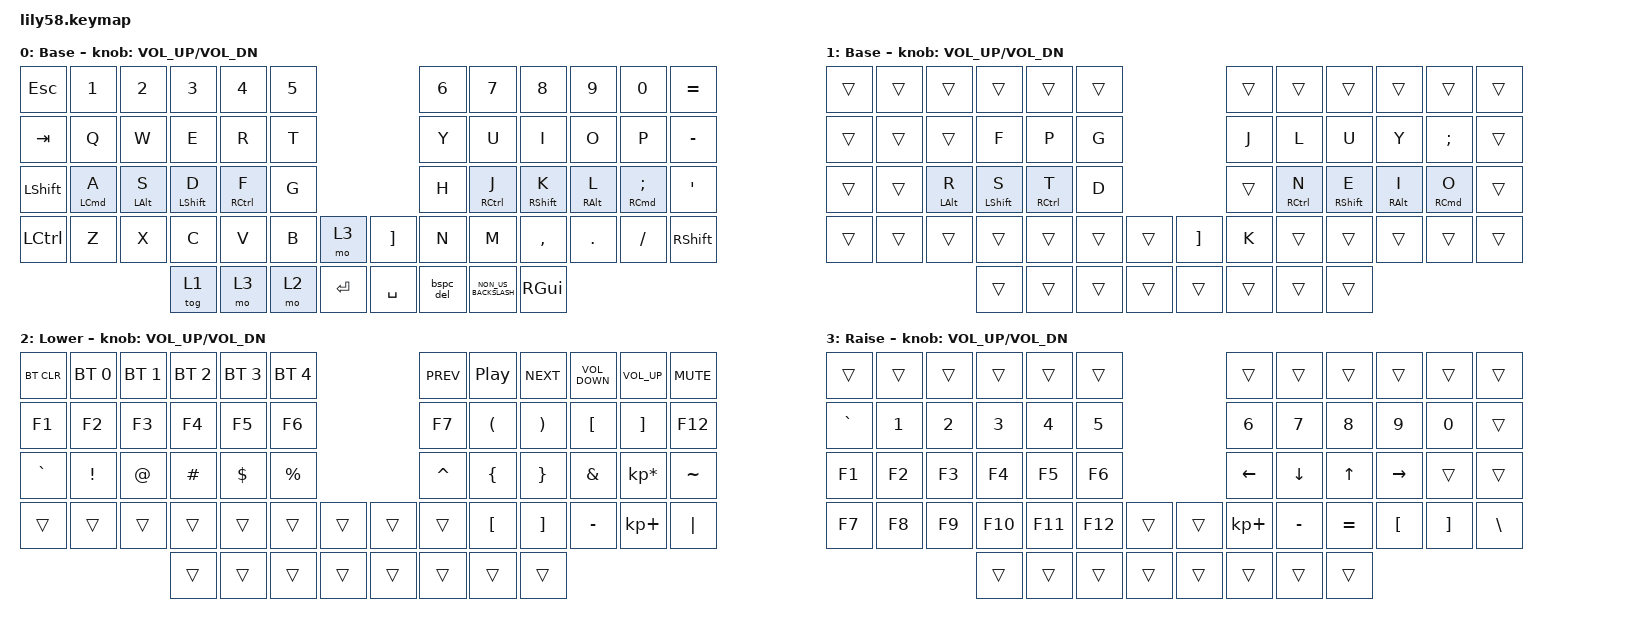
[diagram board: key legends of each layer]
/*
 * Copyright (c) 2020 The ZMK Contributors
 *
 * SPDX-License-Identifier: MIT
 */

#include <behaviors.dtsi>
#include <dt-bindings/zmk/bt.h>
#include <dt-bindings/zmk/keys.h>

/ {
    behaviors {
        hm: hm {
            compatible = "zmk,behavior-hold-tap";
            label = "HM";
            bindings = <&kp>, <&kp>;

            #binding-cells = <2>;
            tapping-term-ms = <200>;
            quick-tap-ms = <200>;
            require-prior-idle-ms = <200>;
            flavor = "tap-preferred";
        };

        bspc_del: bspc_del {
            compatible = "zmk,behavior-mod-morph";
            label = "BSPC_DEL";
            bindings = <&kp BACKSPACE>, <&kp DEL>;

            #binding-cells = <0>;
            mods = <(MOD_LSFT|MOD_RSFT)>;
        };
    };

    keymap {
        compatible = "zmk,keymap";

        default_layer {
            // ------------------------------------------------------------------------------------------------------------
            // |  ESC  |  1  |  2  |  3   |  4   |  5   |                   |  6   |  7    |  8    |  9   |   0   |   `   |
            // |  TAB  |  Q  |  W  |  E   |  R   |  T   |                   |  Y   |  U    |  I    |  O   |   P   |   -   |
            // |  CTRL |  A  |  S  |  D   |  F   |  G   |                   |  H   |  J    |  K    |  L   |   ;   |   '   |
            // | SHIFT |  Z  |  X  |  C   |  V   |  B   |   "["  |  |  "]"  |  N   |  M    |  ,    |  .   |   /   | SHIFT |
            //                     | ALT  | GUI  | LOWER|  SPACE |  | ENTER | RAISE| BSPC  | GUI   |

            display-name = "Base";
            bindings = <
&kp ESC           &kp N1              &kp N2          &kp N3       &kp N4               &kp N5                          &kp N6     &kp N7                &kp N8             &kp N9           &kp N0                       &kp EQUAL
&kp TAB           &kp Q               &kp W           &kp E        &kp R                &kp T                           &kp Y      &kp U                 &kp I              &kp O            &kp P                        &kp MINUS
&kp LEFT_SHIFT    &hm LEFT_COMMAND A  &hm LEFT_ALT S  &hm LSHFT D  &hm RIGHT_CONTROL F  &kp G                           &kp H      &hm RIGHT_CONTROL J   &hm RIGHT_SHIFT K  &hm RIGHT_ALT L  &hm RIGHT_COMMAND SEMICOLON  &kp SQT
&kp LEFT_CONTROL  &kp Z               &kp X           &kp C        &kp V                &kp B   &mo 3        &kp RBKT   &kp N      &kp M                 &kp COMMA          &kp DOT          &kp FSLH                     &kp RSHFT
                                                      &tog 1       &mo 3                &mo 2   &kp ENTER    &kp SPACE  &bspc_del  &kp NON_US_BACKSLASH  &kp RGUI
            >;

            sensor-bindings = <&inc_dec_kp C_VOL_UP C_VOL_DN>;
        };

        Colemak {
            display-name = "Base";
            bindings = <
&trans  &trans  &trans          &trans       &trans               &trans                      &trans  &trans               &trans             &trans           &trans               &trans
&trans  &trans  &trans          &kp F        &kp P                &kp G                       &kp J   &kp L                &kp U              &kp Y            &kp SEMICOLON        &trans
&trans  &trans  &hm LEFT_ALT R  &hm LSHFT S  &hm RIGHT_CONTROL T  &kp D                       &trans  &hm RIGHT_CONTROL N  &hm RIGHT_SHIFT E  &hm RIGHT_ALT I  &hm RIGHT_COMMAND O  &trans
&trans  &trans  &trans          &trans       &trans               &trans  &trans    &kp RBKT  &kp K   &trans               &trans             &trans           &trans               &trans
                                &trans       &trans               &trans  &trans    &trans    &trans  &trans               &trans
            >;

            sensor-bindings = <&inc_dec_kp C_VOL_UP C_VOL_DN>;
        };

        lower_layer {
            // ------------------------------------------------------------------------------------------------------------
            // | BTCLR | BT1 | BT2 |  BT3 |  BT4 |  BT5 |                   |      |       |       |      |       |       |
            // |  F1   |  F2 |  F3 |  F4  |  F5  |  F6  |                   |  F7  |  F8   |  F9   |  F10 |  F11  |  F12  |
            // |   `   |  !  |  @  |  #   |  $   |  %   |                   |  ^   |  &    |  *    |  (   |   )   |   ~   |
            // |       |     |     |      |      |      |        |  |       |      |  _    |  +    |  {   |   }   |  "|"  |
            //                     |      |      |      |        |  |       |      |       |       |

            display-name = "Lower";
            bindings = <
&bt BT_CLR  &bt BT_SEL 0  &bt BT_SEL 1  &bt BT_SEL 2  &bt BT_SEL 3  &bt BT_SEL 4                    &kp C_PREV  &kp C_PLAY_PAUSE      &kp C_NEXT             &kp C_VOLUME_DOWN  &kp C_VOLUME_UP    &kp K_MUTE
&kp F1      &kp F2        &kp F3        &kp F4        &kp F5        &kp F6                          &kp F7      &kp LEFT_PARENTHESIS  &kp RIGHT_PARENTHESIS  &kp LEFT_BRACKET   &kp RIGHT_BRACKET  &kp F12
&kp GRAVE   &kp EXCL      &kp AT        &kp HASH      &kp DOLLAR    &kp PRCNT                       &kp CARET   &kp LEFT_BRACE        &kp RIGHT_BRACE        &kp AMPERSAND      &kp KP_MULTIPLY    &kp TILDE
&trans      &trans        &trans        &trans        &trans        &trans        &trans    &trans  &trans      &kp LEFT_BRACKET      &kp RIGHT_BRACKET      &kp MINUS          &kp KP_PLUS        &kp PIPE
                                        &trans        &trans        &trans        &trans    &trans  &trans      &trans                &trans
            >;

            sensor-bindings = <&inc_dec_kp C_VOL_UP C_VOL_DN>;
        };

        raise_layer {
            // ------------------------------------------------------------------------------------------------------------
            // |       |     |     |      |      |      |                   |      |       |       |      |       |       |
            // |   `   |  1  |  2  |  3   |  4   |  5   |                   |  6   |   7   |   8   |  9   |   0   |       |
            // |   F1  |  F2 |  F3 |  F4  |  F5  |  F6  |                   |      |   <-  |   v   |  ^   |  ->   |       |
            // |   F7  |  F8 |  F9 |  F10 |  F11 |  F12 |        |  |       |  +   |   -   |   =   |  [   |   ]   |   \   |
            //                     |      |      |      |        |  |       |      |       |       |

            display-name = "Raise";
            bindings = <
&trans     &trans  &trans  &trans   &trans   &trans                     &trans          &trans     &trans        &trans     &trans    &trans
&kp GRAVE  &kp N1  &kp N2  &kp N3   &kp N4   &kp N5                     &kp N6          &kp N7     &kp N8        &kp N9     &kp N0    &trans
&kp F1     &kp F2  &kp F3  &kp F4   &kp F5   &kp F6                     &kp LEFT_ARROW  &kp DOWN   &kp UP_ARROW  &kp RIGHT  &trans    &trans
&kp F7     &kp F8  &kp F9  &kp F10  &kp F11  &kp F12  &trans    &trans  &kp KP_PLUS     &kp MINUS  &kp EQUAL     &kp LBKT   &kp RBKT  &kp BSLH
                           &trans   &trans   &trans   &trans    &trans  &trans          &trans     &trans
            >;

            sensor-bindings = <&inc_dec_kp C_VOL_UP C_VOL_DN>;
        };
    };
};
